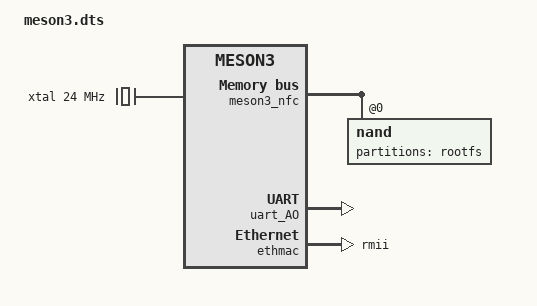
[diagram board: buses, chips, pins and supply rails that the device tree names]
// SPDX-License-Identifier: GPL-2.0 OR MIT
/*
 * Copyright 2014 Carlo Caione <carlo@caione.org>
 */

/dts-v1/;

#include <dt-bindings/interrupt-controller/irq.h>
#include <dt-bindings/interrupt-controller/arm-gic.h>

/ {

	compatible = "amlogic,meson3";

	#address-cells = <1>;
	#size-cells = <1>;
	interrupt-parent = <&meson3_intc>;
	
	aliases {
		serial0 = &uart_AO;
/*
		serial1 = &uart_A;
		serial2 = &uart_B;
		serial3 = &uart_C;
*/
	};

	soc {
		compatible = "simple-bus";
		#address-cells = <1>;
		#size-cells = <1>;
		ranges;

		cbus: cbus@c1100000 {
			compatible = "simple-bus";
			reg = <0xc1100000 0x200000>;
			#address-cells = <1>;
			#size-cells = <1>;
			ranges = <0x0 0xc1100000 0x200000>;

/*
			uart_A: serial@84c0 {
				compatible = "amlogic,meson3-uart";
				reg = <0x84c0 0x18>;
				interrupts = <26 IRQ_TYPE_EDGE_RISING>;
				status = "disabled";
			};

			uart_B: serial@84dc {
				compatible = "amlogic,meson3-uart";
				reg = <0x84dc 0x18>;
				interrupts = <75 IRQ_TYPE_EDGE_RISING>;
				status = "disabled";
			};

			uart_C: serial@8700 {
				compatible = "amlogic,meson3-uart";
				reg = <0x8700 0x18>;
				interrupts = <93 IRQ_TYPE_EDGE_RISING>;
				status = "disabled";
			};
*/

			meson3_nfc: nfc@8600 {
				compatible = "amlogic,meson-8726m3-nfc";
				reg = <0x8600 0x30>;
				interrupts = <34 IRQ_TYPE_EDGE_RISING>;

				#address-cells = <1>;
				#size-cells = <0>;

				nand@0 {
					reg = <0>;
					nand-ecc-mode = "hw";
					nand-ecc-algo = "bch";
					nand-ecc-placement = "oob";
					nand-ecc-strength = <30>;
					nand-ecc-step-size = <1024>;
					nand-bus-width = <8>;


					partitions {
						compatible = "fixed-partitions";
						#address-cells = <1>;
						#size-cells = <1>;


						partition@1000000 {
							label = "rootfs";
							reg = <0x1000000 0x2000000>;
						};
					};

				};
			};

			meson3_intc: interrupt-controller@9A40 {
				compatible = "amlogic,meson-intc";
				reg = <0x9A40 0x40>;
				interrupt-controller;
				#interrupt-cells = <2>;
			};
			
			timer_abcde: timer@9940 {
				compatible = "amlogic,meson3-timer";
				reg = <0x9940 0x18>;
				interrupts = <10 IRQ_TYPE_EDGE_RISING>,
					     <11 IRQ_TYPE_EDGE_RISING>,
					     <6 IRQ_TYPE_EDGE_RISING>,
					     <29 IRQ_TYPE_EDGE_RISING>;

			};
		}; /* cbus */

		L2: cache-controller@c4200000 {
			compatible = "arm,pl310-cache";
			reg = <0xc4200000 0x1000>;
			cache-unified;
			cache-level = <2>;
		};

		periph: bus@c4300000 {
			compatible = "simple-bus";
			reg = <0xc4300000 0x10000>;
			#address-cells = <1>;
			#size-cells = <1>;
			ranges = <0x0 0xc4300000 0x10000>;

		};

		aobus: aobus@c8100000 {
			compatible = "simple-bus";
			reg = <0xc8100000 0x100000>;
			#address-cells = <1>;
			#size-cells = <1>;
			ranges = <0x0 0xc8100000 0x100000>;

			uart_AO: serial@4c0 {
				compatible = "amlogic,meson3-uart";
				reg = <0x4c0 0x18>;
				interrupts = <90 IRQ_TYPE_EDGE_RISING>;
			};

			rtc: rtc@8740 {
				compatible = "amlogic,meson3-rtc";
				reg = <0x8740 0x14>;
				interrupts = <72 IRQ_TYPE_EDGE_RISING>;
				#address-cells = <1>;
				#size-cells = <1>;
				status = "disabled";
			};
		};/* aobus*/

		ethmac: ethernet@c9410000 {
			compatible = "amlogic,meson6-dwmac","snps,dwmac";
			reg = <0xc9410000 0x10000
			       0xc1108108 0x4>;
			interrupts = <8 IRQ_TYPE_EDGE_RISING>;
			interrupt-names = "macirq";
			
			phy-mode = "rmii";
			status = "okay";
		};

	};/* soc */

	xtal: xtal-clk {
		compatible = "fixed-clock";
		clock-frequency = <24000000>;
		clock-output-names = "xtal";
		#clock-cells = <0>;
	};

};

